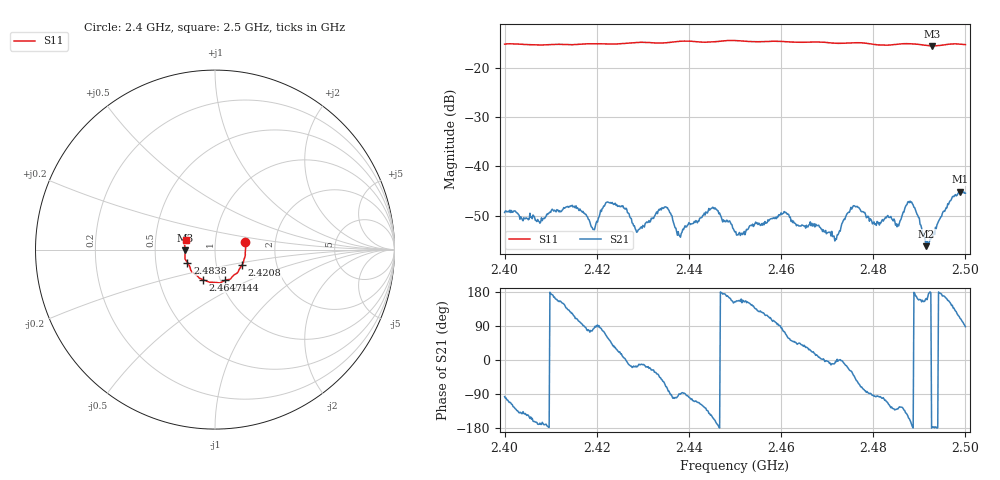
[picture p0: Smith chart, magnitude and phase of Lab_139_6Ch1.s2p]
# Hz S RI R 50
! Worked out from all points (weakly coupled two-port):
!   601 points, 2.4 GHz to 2.5 GHz, reference 50 ohm
!   highest |S21| = -45.11 dB at 2.4988 GHz (marker M1); lowest = -56.1 dB at 2.4915 GHz (marker M2)
!   lowest |S11| = -15.6 dB at 2.4928 GHz (marker M3), VSWR 1.40, Z = 35.8 - j0.338 ohm
!   |S11| at or under -10 dB: start of sweep to end of sweep
!   S12 and S22 are empty: the file has one direction only
!   S11 on the Smith chart (normalised r, x): 2.4 GHz: 1.40, +0.12; 2.4208 GHz: 1.33, -0.24; 2.444 GHz: 1.06, -0.37; 2.4647 GHz: 0.83, -0.29; 2.4838 GHz: 0.73, -0.11; 2.5 GHz: 0.72, +0.08
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2.4e9  0.1676 0.0412  -0.000397 -0.00341  0 0  0 0
2.416667e9  0.159 -0.0679  -0.000377 0.00353  0 0  0 0
2.419167e9  0.1543 -0.0812  0.000357 0.00228  0 0  0 0
2.420833e9  0.1507 -0.087  0.000355 0.0036  0 0  0 0
2.425833e9  0.1335 -0.1131  0.00379 0.000395  0 0  0 0
2.428833e9  0.1273 -0.1265  0.0021 -0.00065  0 0  0 0
2.433333e9  0.1078 -0.1402  0.0028 -0.0022  0 0  0 0
2.438e9  0.0881 -0.162  1.36e-05 -0.00199  0 0  0 0
2.444e9  0.0581 -0.1709  -0.00233 -0.00245  0 0  0 0
2.45e9  0.0247 -0.186  -0.00196 0.000947  0 0  0 0
2.4605e9  -0.0378 -0.1794  0.000842 0.00326  0 0  0 0
2.464667e9  -0.0674 -0.1671  0.00197 0.00162  0 0  0 0
2.466667e9  -0.08 -0.1628  0.00248 0.000991  0 0  0 0
2.471667e9  -0.0999 -0.1454  0.00175 -0.000258  0 0  0 0
2.475667e9  -0.126 -0.1258  0.0031 -0.00254  0 0  0 0
2.483333e9  -0.1506 -0.0762  -0.00139 -0.00274  0 0  0 0
2.483833e9  -0.1534 -0.072  -0.00183 -0.00253  0 0  0 0
2.488167e9  -0.1674 -0.0472  -0.00417 -0.00118  0 0  0 0
2.4915e9  -0.1664 -0.0207  -0.00149 0.000473  0 0  0 0
2.492833e9  -0.1658 -0.0046  -0.00196 -0.000119  0 0  0 0
2.498833e9  -0.1668 0.0442  -0.00191 0.00521  0 0  0 0
2.5e9  -0.1621 0.0529  0.000193 0.00536  0 0  0 0
